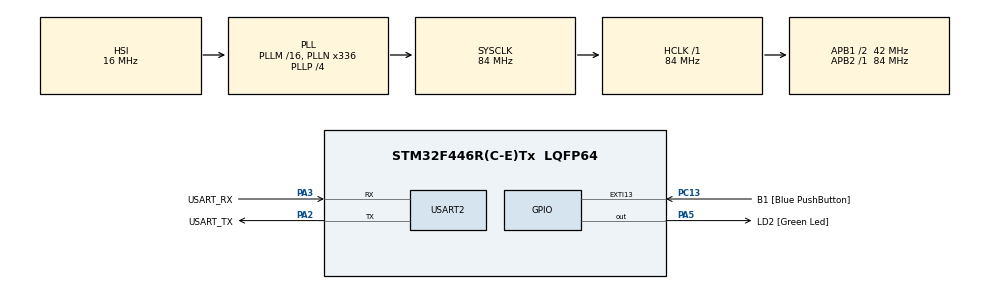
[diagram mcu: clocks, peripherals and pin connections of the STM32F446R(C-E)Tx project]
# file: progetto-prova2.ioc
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Mcu.Family=STM32F4
Mcu.Name=STM32F446R(C-E)Tx
Mcu.Package=LQFP64
NVIC.PriorityGroup=NVIC_PRIORITYGROUP_0
PA13.GPIO_Label=TMS
PA13.Mode=Serial_Wire
PA13.Signal=SYS_JTMS-SWDIO
PA14.GPIO_Label=TCK
PA14.Mode=Serial_Wire
PA14.Signal=SYS_JTCK-SWCLK
PA2.GPIO_Label=USART_TX
PA2.Mode=Asynchronous
PA2.Signal=USART2_TX
PA3.GPIO_Label=USART_RX
PA3.Mode=Asynchronous
PA3.Signal=USART2_RX
PA5.GPIO_Label=LD2 [Green Led]
PA5.Signal=GPIO_Output
PB3.GPIO_Label=SWO
PB3.Signal=SYS_JTDO-SWO
PC13.GPIO_Label=B1 [Blue PushButton]
PC13.GPIO_ModeDefaultEXTI=GPIO_MODE_IT_FALLING
PC13.Signal=GPXTI13
PC14-OSC32_IN.Mode=LSE-External-Oscillator
PC14-OSC32_IN.Signal=RCC_OSC32_IN
PC15-OSC32_OUT.Mode=LSE-External-Oscillator
PC15-OSC32_OUT.Signal=RCC_OSC32_OUT
PH0-OSC_IN.Mode=HSE-External-Oscillator
PH0-OSC_IN.Signal=RCC_OSC_IN
PH1-OSC_OUT.Mode=HSE-External-Oscillator
PH1-OSC_OUT.Signal=RCC_OSC_OUT
ProjectManager.HeapSize=0x200
ProjectManager.StackSize=0x400
ProjectManager.TargetToolchain=STM32CubeIDE
RCC.48MHZClocksFreq_Value=84000000
RCC.AHBFreq_Value=84000000
RCC.APB1CLKDivider=RCC_HCLK_DIV2
RCC.APB1Freq_Value=42000000
RCC.APB1TimFreq_Value=84000000
RCC.APB2Freq_Value=84000000
RCC.APB2TimFreq_Value=84000000
RCC.CortexFreq_Value=84000000
RCC.FLatency-AdvancedSettings=FLASH_LATENCY_2
RCC.HCLKFreq_Value=84000000
RCC.HSE_VALUE=8000000
RCC.HSI_VALUE=16000000
RCC.PLLN=336
RCC.PLLP=RCC_PLLP_DIV4
RCC.SYSCLKFreq_VALUE=84000000
RCC.SYSCLKSource=RCC_SYSCLKSOURCE_PLLCLK
RCC.USBFreq_Value=168000000
RCC.VCOOutputFreq_Value=336000000
USART2.VirtualMode=VM_ASYNC
board=NUCLEO-F446RE

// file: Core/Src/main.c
/* USER CODE BEGIN Header */
/**
  ******************************************************************************
  * @file           : main.c
  * @brief          : Main program body
  ******************************************************************************
  * @attention
  *
  * Copyright (c) 2026 STMicroelectronics.
  * All rights reserved.
  *
  * This software is licensed under terms that can be found in the LICENSE file
  * in the root directory of this software component.
  * If no LICENSE file comes with this software, it is provided AS-IS.
  *
  ******************************************************************************
  */
/* USER CODE END Header */
#include "main.h"
#include <stdio.h>

UART_HandleTypeDef huart2;

void SystemClock_Config(void);
static void MX_GPIO_Init(void);
static void MX_USART2_UART_Init(void);

//bisogna distinguere le variabili del sensore tubo e del sensore mano
/* USER CODE BEGIN 0 */
volatile uint8_t time_elapsed = 0;
//volatile uint8_t time_elapsed = 0;
uint16_t counter = 0;

//variabili tubo
uint8_t measure_collected_tubo = 0;
uint32_t measure_tubo = 0;

//per filtro
float alpha = 0.2f;          // peso della nuova lettura (0.2 = molto filtrato, 0.8 = poco filtrato)
float dist_filtrata_tubo = 0.0f;  // distanza pulita

//variabili mano

uint8_t measure_collected_mano = 0;
uint32_t measure_mano = 0;

//per filtro
float dist_filtrata_mano = 0.0f;  // Qui salveremo la distanza pulita

//per seriale
volatile char buff_tx[50];
volatile uint8_t tx_len = 0;
uint8_t tx_len_max = 0;

//per il pid
float Kp = 14.0f;
float Ki = 0.5f;
float Kd = 6.5f;

float pos_pallina_prec = 0.0f;
float integrale = 0.0f;
float no_hand_counter = 0; //da quanto tempo è sparita la mano

// Il valore di PWM in cui la pallina galleggia a metà tubo

#define PWM_BASE 950.0f
#define PWM_MAX 999.0f
#define PWM_MIN 0.0f
#define DT 0.06f

//iniziamo ad impostare i timer

//il timer 6 serve come cronometro per i sensori ad ultrasuoni, mentre il timer 3 ci serve come generatore di PWM
void TIM6_DAC_IRQHandler() {
	if((TIM6->SR >> TIM_SR_UIF_Pos) & 0x01) {
		NVIC_ClearPendingIRQ(TIM6_DAC_IRQn); // Eliminare richieste di interrupt pendenti
		time_elapsed = 1;
		TIM6->CR1 &= ~(1 << TIM_CR1_CEN_Pos);
		TIM6->SR &= ~(1 << TIM_SR_UIF_Pos);
	}
}

// --- INTERRUPT SENSORI ---
void EXTI1_IRQHandler() { // TUBO
	NVIC_ClearPendingIRQ(EXTI1_IRQn);
	if((GPIOC->IDR >> 1) & 0x01) { //Legge il registro dei dati in ingresso (IDR) della porta C, sposta a destra il valore per isolare il bit 1 (PC1) e
		//applica una maschera AND. Questo serve al microcontrollore per capire se l'interrupt è stato generato da un fronte di salita (pin HIGH) o di discesa (pin LOW).
		//se l'impulso echo è andato alto allora :
		TIM6->ARR = 65000; TIM6->CNT = 0; TIM6->CR1 |= (1 << TIM_CR1_CEN_Pos); //accendo il timer
		measure_collected_tubo = 0;
	} else { //il ping acustico è tornato indietro
		TIM6->CR1 &= ~(1 << TIM_CR1_CEN_Pos);
		measure_tubo = TIM6->CNT; measure_collected_tubo = 1; //spengo il timer, salvo il tempo accumulato e measure collected va a 1
	}
	EXTI->PR |= (0x01 << EXTI_PR_PR1_Pos); //azzero il flag di interruzione pendente
}

//questa funzione si comporta esattamente come la precedente con la differenza che in questo caso stiamo gestendo il canale 3 e contiamo la distanza della mano
void EXTI3_IRQHandler() { // MANO
	NVIC_ClearPendingIRQ(EXTI3_IRQn);
	if((GPIOC->IDR >> 3) & 0x01) {
		TIM6->ARR = 65000; TIM6->CNT = 0; TIM6->CR1 |= (1 << TIM_CR1_CEN_Pos);
		measure_collected_mano = 0;
	} else {
		TIM6->CR1 &= ~(1 << TIM_CR1_CEN_Pos);
		measure_mano = TIM6->CNT; measure_collected_mano = 1;
	}
	EXTI->PR |= (0x01 << EXTI_PR_PR3_Pos);
}

void TIM6_basic_setup() {

	RCC->APB1ENR |= (1 << RCC_APB1ENR_TIM6EN_Pos); 		// Clock to TIM6

	TIM6->CR1 &= ~(1 << TIM_CR1_UDIS_Pos); 		// Update event enable
	TIM6->CR1 |= (1 << TIM_CR1_URS_Pos);		// Update event generated only by overflow/underflow
	//TIM6->PSC = 90 - 1; 						// CNT incremented every nanoseconds perchè il codice lavora solo se è il clock è 90Mhz quindi 90/90 = 1hz -> frequenza che ci serve per i microsecondi
	TIM6->PSC = 84 - 1;

	TIM6->DIER |= (1 << TIM_DIER_UIE_Pos); 		// Trigger an interrupt every update event
	NVIC_EnableIRQ(TIM6_DAC_IRQn);				// Enable interrupt for TIM6
	NVIC_SetPriority(TIM6_DAC_IRQn, 0); 		// Set Priority
}

void delay_micro_s(uint16_t delay) {
	TIM6->ARR = delay - 1;
	TIM6->CNT = 0;
	TIM6->CR1 |= (1 << TIM_CR1_CEN_Pos);
	while(!time_elapsed) {};
	time_elapsed = 0;
}

//IMPOSTAZIONE SENSORI il primo utilizza GPIO PC1 e PC0 per echo e trig mentre il secondo PC3 e PC2

void hc_sr04_init_tubo() {
	RCC->AHB1ENR |= (1 << RCC_AHB1ENR_GPIOCEN_Pos);
	RCC->APB2ENR |= (1 << RCC_APB2ENR_SYSCFGEN_Pos);

	/** Trigger pin configuration (PC0) **/
	GPIOC->MODER |= (0x01 << 0);
	GPIOC->OTYPER &= ~(0x1 << 0);

	/** Echo pin configuration (PC1) **/
	GPIOC->MODER  &= ~(0x03 << 2); // configuriamo il pin come input 00, lo facciamo modificando solo i bit di interesse senza intaccare il resto
	/* SYStem ConFiGuration (Multiplexer) */
	SYSCFG->EXTICR[0] |= (SYSCFG_EXTICR1_EXTI1_PC);

	/* EXTernal Interrupt configuration (EXTI1) */
	EXTI->IMR  |= (EXTI_IMR_IM1);
	EXTI->FTSR |= (0x01 << EXTI_FTSR_TR1_Pos);
	EXTI->RTSR |= (0x01 << EXTI_RTSR_TR1_Pos);

	/* NVIC Configuration */
	NVIC_EnableIRQ(EXTI1_IRQn); //abilitiamo l'interrupt
	NVIC_SetPriority(EXTI1_IRQn, 0); //priorità a 0

	TIM6_basic_setup();
}

void set_trigger_tubo(){
	GPIOC->ODR |= (1 << 0);
}

void clear_trigger_tubo(){
	GPIOC->ODR &= ~(1 << 0);
}

//il secondo sensore sarà destinato alla distanza della mano, in questo caso le gpio coinvolte sono PC2 e PC3

void hc_sr04_init_mano() {
	RCC->AHB1ENR |= (1 << RCC_AHB1ENR_GPIOCEN_Pos);
	RCC->APB2ENR |= (1 << RCC_APB2ENR_SYSCFGEN_Pos);

	/** Trigger pin configuration (PC2) **/
	GPIOC->MODER |= (0x01 << 4);   // MODER2 occupa i bit 4 e 5
	GPIOC->OTYPER &= ~(0x1 << 2);

	/** Echo pin configuration (PC3) **/
	GPIOC->MODER  &= ~(0x03 << 6); // MODER3 occupa i bit 6 e 7

	/* SYStem ConFiGuration (Multiplexer) */
	SYSCFG->EXTICR[0] |= (SYSCFG_EXTICR1_EXTI3_PC);

	/* EXTernal Interrupt configuration (EXTI3) */
	EXTI->IMR  |= (EXTI_IMR_IM3);
	EXTI->FTSR |= (0x01 << EXTI_FTSR_TR3_Pos);
	EXTI->RTSR |= (0x01 << EXTI_RTSR_TR3_Pos);

	/* NVIC Configuration */
	NVIC_EnableIRQ(EXTI3_IRQn);
	NVIC_SetPriority(EXTI3_IRQn, 0);

	TIM6_basic_setup();
}

void set_trigger_mano(){
	GPIOC->ODR |= (1 << 2);
}

void clear_trigger_mano() {
	GPIOC->ODR &= ~(1 << 2);
}

volatile float measure_f;

float meas_dist_tubo() {
    measure_collected_tubo = 0; //lo azzero perchè altrimenti potrebbe tener conto dell'ultima misurazione quando tolgo la mano
    clear_trigger_tubo();
    delay_micro_s(3);
    set_trigger_tubo();
    delay_micro_s(10);
    clear_trigger_tubo();

    uint32_t inizio = HAL_GetTick();
    while(!measure_collected_tubo) {
        if((HAL_GetTick() - inizio) > 50) {
            TIM6->CR1 &= ~(1 << TIM_CR1_CEN_Pos);
            return -1.0f;
        }
    }
    return 0.5f * 0.0343f * measure_tubo;
}

float meas_dist_mano() {
    measure_collected_mano = 0;
    clear_trigger_mano();
    delay_micro_s(3);
    set_trigger_mano();
    delay_micro_s(10);
    clear_trigger_mano();

    uint32_t inizio = HAL_GetTick();
    while(!measure_collected_mano) {
        if((HAL_GetTick() - inizio) > 50) {
            TIM6->CR1 &= ~(1 << TIM_CR1_CEN_Pos);
            return -1.0f;
        }
    }
    return 0.5f * 0.0343f * measure_mano;
}

void TIM3_PWM_setup() {
	/* GPIO SetUp (PA6 -> TIM3_CH1) */
	RCC->AHB1ENR |= (1 << RCC_AHB1ENR_GPIOAEN_Pos);		// Enable GPIO6
	/*GPIOA->MODER |= (2 << 12); 							// Alternate function mode
	GPIOA->AFR[0] = (2 << 24);
	*/					// Alternate function n2 for PA6 (TIM3 CH1)
	GPIOA->MODER &= ~(3 << 12);
	GPIOA->MODER |=  (2 << 12);

	GPIOA->AFR[0] &= ~(0xF << 24);
	GPIOA->AFR[0] |=  (2 << 24);
	GPIOA->OSPEEDR 	|= (3 << 12);  						// High Speed for PIN PA6

	/* TIM3 SetUp */
	RCC->APB1ENR |= (1 << RCC_APB1ENR_TIM3EN_Pos); 		// Clock to TIM3

	/* CR1 Configuration */
	TIM3->CR1 &= ~(1 << TIM_CR1_UDIS_Pos); 		// Update event enabled
	TIM3->CR1 &= ~(1 << TIM_CR1_URS_Pos);		// Update event generated by any source
	TIM3->CR1 &= ~(1 << TIM_CR1_DIR_Pos); 		// Upcounting direction check
	TIM3->CR1 &= ~(0x03 << TIM_CR1_CMS_Pos); 	// (00) Edge aligned mode check
	TIM3->CR1 |= (1 << TIM_CR1_ARPE_Pos); 		// Auto reload preload enabled

	TIM3->CCMR1 &= ~(0x03 << TIM_CCMR1_CC1S_Pos); 	// TIM3_CH1 configured as output
	TIM3->CCMR1 |= (1 << TIM_CCMR1_OC1PE_Pos); 		// Preload CCR1 register aswell
	TIM3->CCMR1 |= (0x6 << TIM_CCMR1_OC1M_Pos); 	// PWM Mode 1

	TIM3->CCER |= (1 << TIM_CCER_CC1E_Pos); 				// Enable output channel 1
	//TIM3->CCER |= (1 << TIM_CCER_CC1P_Pos); 				// Active low

	TIM3->PSC = 42 - 1; 						// CNT incremented every ms
	TIM3->ARR = 1000 - 1; 						// Update event every seconds
	TIM3->CCR1 = 500; //partiamo dalla ventola spenta e poi gli diamo potenza volta per volta

	TIM3->EGR |= (1 << TIM_EGR_UG_Pos); 		// Fire an update event to update shadow registers
}

//usart
void USART2_IRQHandler() {
    NVIC_ClearPendingIRQ(USART2_IRQn);
    if(tx_len < tx_len_max && (USART2->SR >> USART_SR_TXE_Pos) & 0x01) {
        USART2->DR = buff_tx[++tx_len];
    } else if((USART2->SR >> USART_SR_TC_Pos) & 0x01) {
        tx_len = 0;
        USART2->CR1 &= ~(0x01 << USART_CR1_TXEIE_Pos);
    }
}

void send_str_it(volatile char *buff, uint8_t len) {
    tx_len = 0; tx_len_max = len - 1;
    USART2->DR = buff[0];
    USART2->CR1 |= (0x01 << USART_CR1_TXEIE_Pos);
}

//funzioone del pid
float calcola_PID(float setpoint, float posizione) {
    float errore = posizione - setpoint; // > 0 significa pallina troppo bassa
    float P = Kp * errore;

    // Anti-windup con il calcolo del Tempo (DT)
    float out_parziale = PWM_BASE + P + (Ki * integrale);
    if ((out_parziale > PWM_MIN && out_parziale < PWM_MAX) ||
        (out_parziale >= PWM_MAX && errore < 0) ||
        (out_parziale <= PWM_MIN && errore > 0)) {
        integrale += errore * DT;
    }

    float I = Ki * integrale;

    float derivata_pos = (posizione - pos_pallina_prec) / DT;
    float D = Kd * derivata_pos;

    // Calcolo finale
    float out_finale = PWM_BASE + P + I + D;

    if (out_finale > PWM_MAX) out_finale = PWM_MAX;
    if (out_finale < PWM_MIN) out_finale = PWM_MIN;

    pos_pallina_prec = posizione;
    return out_finale;
}
/* USER CODE END 0 */

int main(void)
{

	  /* MCU Configuration--------------------------------------------------------*/

	  /* Reset of all peripherals, Initializes the Flash interface and the Systick. */
	  HAL_Init();

	  /* Configure the system clock */
	  SystemClock_Config();

	  /* Initialize all configured peripherals */
	  MX_GPIO_Init();
	  MX_USART2_UART_Init();
	  /* USER CODE BEGIN 2 */
	  hc_sr04_init_mano();   // Inizializza i pin del sensore, l'EXTI e avvia anche il TIM6!
	  hc_sr04_init_tubo();
	  TIM3_PWM_setup(); // Inizializza il PWM e il pin del motore
	  /* USER CODE END 2 */

	  /* Infinite loop */
	  /* USER CODE BEGIN WHILE */

	  /* GPIO PA5, PA7, PA8 */

	  RCC->AHB1ENR |= (1 << RCC_AHB1ENR_GPIOAEN_Pos);

	  GPIOA->MODER &= ~((3 << 8) |
	                       (3 << 14) |
	                       (3 << 16));

	  GPIOA->MODER |= ((1 << 8) |
	                      (1 << 14) |
	                      (1 << 16));

	  /* TB6612 ENABLE */

	  GPIOA->ODR |= (1 << 4);     // STBY = HIGH

	  /* Direzione */

	  GPIOA->ODR |= (1 << 7);     // AIN1 = HIGH
	  GPIOA->ODR &= ~(1 << 8);     // AIN2 = LOW

	  /* Start timers */

	  TIM3->CR1 |= (1 << TIM_CR1_CEN_Pos);
	  NVIC_EnableIRQ(USART2_IRQn);

	  while (1)
	  	  {

		  //MISURA MANO gestisce anche mano assente
		            float raw_mano = meas_dist_mano();
		            if (raw_mano > 2.0f && raw_mano < 60.0f) {
		                no_hand_counter = 0; // La mano c'è, azzera l'allarme
		                if (dist_filtrata_mano == 0.0f) {
		                    dist_filtrata_mano = raw_mano;
		                } else {
		                    dist_filtrata_mano = (alpha * raw_mano) + ((1.0f - alpha) * dist_filtrata_mano);
		                }
		            } else {
		                no_hand_counter++; // Se legge fuori range, incrementa l'allarme
		            }
		            HAL_Delay(30);

		            // MISURA TUBO
		            float raw_tubo = meas_dist_tubo();
		            if (raw_tubo > 2.0f && raw_tubo < 60.0f) {
		                if (dist_filtrata_tubo == 0.0f) {
		                    dist_filtrata_tubo = raw_tubo;
		                } else {
		                    dist_filtrata_tubo = (alpha * raw_tubo) + ((1.0f - alpha) * dist_filtrata_tubo);
		                }
		            }
		            HAL_Delay(30);

		            // LOGICA DI CONTROLLO A STATI
		            uint32_t pwm_out = 0;

		            if (no_hand_counter > 5) {

		                pwm_out = 0;
		                dist_filtrata_mano = 0.0f; // Reset per il prossimo avvio
		                integrale = 0.0f;
		            }
		            else if (dist_filtrata_tubo > 45.0f) {

		                pwm_out = 999;
		            }
		            else {

		                float altezza_tubo = 50.0f;
		                float setpoint_reale = altezza_tubo - dist_filtrata_mano;

		                // Protezione: impedisce bersagli impossibili
		                if(setpoint_reale < 5.0f) setpoint_reale = 5.0f;

		                pwm_out = (uint32_t)calcola_PID(setpoint_reale, dist_filtrata_tubo);
		            }

		            TIM3->CCR1 = pwm_out;

		            int len = sprintf((char*)buff_tx, "%.2f,%.2f,%lu\r\n", dist_filtrata_mano, dist_filtrata_tubo, pwm_out);
		            send_str_it(buff_tx, len);

		            HAL_Delay(30);
	  	  }
	  /* USER CODE END 3 */
	}
void SystemClock_Config(void)
{
  RCC_OscInitTypeDef RCC_OscInitStruct = {0};
  RCC_ClkInitTypeDef RCC_ClkInitStruct = {0};

  /** Configure the main internal regulator output voltage
  */
  __HAL_RCC_PWR_CLK_ENABLE();
  __HAL_PWR_VOLTAGESCALING_CONFIG(PWR_REGULATOR_VOLTAGE_SCALE3);

  /** Initializes the RCC Oscillators according to the specified parameters
  * in the RCC_OscInitTypeDef structure.
  */
  RCC_OscInitStruct.OscillatorType = RCC_OSCILLATORTYPE_HSI;
  RCC_OscInitStruct.HSIState = RCC_HSI_ON;
  RCC_OscInitStruct.HSICalibrationValue = RCC_HSICALIBRATION_DEFAULT;
  RCC_OscInitStruct.PLL.PLLState = RCC_PLL_ON;
  RCC_OscInitStruct.PLL.PLLSource = RCC_PLLSOURCE_HSI;
  RCC_OscInitStruct.PLL.PLLM = 16;
  RCC_OscInitStruct.PLL.PLLN = 336;
  RCC_OscInitStruct.PLL.PLLP = RCC_PLLP_DIV4;
  RCC_OscInitStruct.PLL.PLLQ = 2;
  RCC_OscInitStruct.PLL.PLLR = 2;
  if (HAL_RCC_OscConfig(&RCC_OscInitStruct) != HAL_OK)
  {
    Error_Handler();
  }

  /** Initializes the CPU, AHB and APB buses clocks
  */
  RCC_ClkInitStruct.ClockType = RCC_CLOCKTYPE_HCLK|RCC_CLOCKTYPE_SYSCLK
                              |RCC_CLOCKTYPE_PCLK1|RCC_CLOCKTYPE_PCLK2;
  RCC_ClkInitStruct.SYSCLKSource = RCC_SYSCLKSOURCE_PLLCLK;
  RCC_ClkInitStruct.AHBCLKDivider = RCC_SYSCLK_DIV1;
  RCC_ClkInitStruct.APB1CLKDivider = RCC_HCLK_DIV2;
  RCC_ClkInitStruct.APB2CLKDivider = RCC_HCLK_DIV1;

  if (HAL_RCC_ClockConfig(&RCC_ClkInitStruct, FLASH_LATENCY_2) != HAL_OK)
  {
    Error_Handler();
  }
}

static void MX_USART2_UART_Init(void)
{

  huart2.Instance = USART2;
  huart2.Init.BaudRate = 115200;
  huart2.Init.WordLength = UART_WORDLENGTH_8B;
  huart2.Init.StopBits = UART_STOPBITS_1;
  huart2.Init.Parity = UART_PARITY_NONE;
  huart2.Init.Mode = UART_MODE_TX_RX;
  huart2.Init.HwFlowCtl = UART_HWCONTROL_NONE;
  huart2.Init.OverSampling = UART_OVERSAMPLING_16;
  if (HAL_UART_Init(&huart2) != HAL_OK)
  {
    Error_Handler();
  }

}

static void MX_GPIO_Init(void)
{
  GPIO_InitTypeDef GPIO_InitStruct = {0};

  /* GPIO Ports Clock Enable */
  __HAL_RCC_GPIOC_CLK_ENABLE();
  __HAL_RCC_GPIOH_CLK_ENABLE();
  __HAL_RCC_GPIOA_CLK_ENABLE();
  __HAL_RCC_GPIOB_CLK_ENABLE();

  /*Configure GPIO pin Output Level */
  HAL_GPIO_WritePin(LD2_GPIO_Port, LD2_Pin, GPIO_PIN_RESET);

  /*Configure GPIO pin : B1_Pin */
  GPIO_InitStruct.Pin = B1_Pin;
  GPIO_InitStruct.Mode = GPIO_MODE_IT_FALLING;
  GPIO_InitStruct.Pull = GPIO_NOPULL;
  HAL_GPIO_Init(B1_GPIO_Port, &GPIO_InitStruct);

  /*Configure GPIO pin : LD2_Pin */
  GPIO_InitStruct.Pin = LD2_Pin;
  GPIO_InitStruct.Mode = GPIO_MODE_OUTPUT_PP;
  GPIO_InitStruct.Pull = GPIO_NOPULL;
  GPIO_InitStruct.Speed = GPIO_SPEED_FREQ_LOW;
  HAL_GPIO_Init(LD2_GPIO_Port, &GPIO_InitStruct);

}

void Error_Handler(void)
{
  __disable_irq();
  while (1)
  {
  }
}
